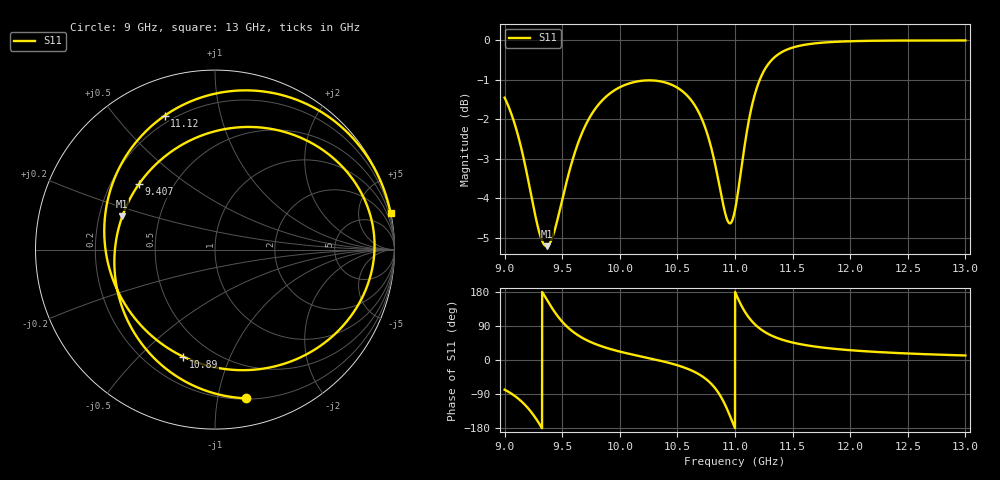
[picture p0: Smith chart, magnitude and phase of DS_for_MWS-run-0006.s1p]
! TOUCHSTONE file generated by CST DESIGN STUDIO
! Date and time: Tue Feb  4 14:07:49 2025
! Project name: C:\Work\MatlabApps\UnitCellOptimizationMatlab\CST\unitcell.cst
! Tree item: Tasks\Sweep1\SPara1\S-Parameters
! Header version: 2024
! Port assignment regex: !\s*Touchstone port\s*([0-9]+)\s*=\s*(CST MWS port|CST DES external port|CST DES block port)\s*(.+)\s* \(\"(.*)\"\)(\s*mode\s*([0-9]+))?.*
! Touchstone port assignment:
! Touchstone port 1 = CST DES external port 1 ("")
# GHz S MA R 50
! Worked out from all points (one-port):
!   4001 points, 9 GHz to 13 GHz, reference 50 ohm
!   lowest |S11| = -5.2 dB at 9.364 GHz (marker M1), VSWR 3.43, Z = 15 + j7.9 ohm
!   |S11| at or under -10 dB: nowhere
!   S11 on the Smith chart (normalised r, x): 9 GHz: 0.21, -1.21; 9.407 GHz: 0.32, +0.34; 10.89 GHz: 0.35, -0.69; 11.12 GHz: 0.17, +0.68; 13 GHz: 0.02, +9.57
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9  0.8461 -78.3
9.096  0.7766 -96.6
9.177  0.6962 -118.4
9.278  0.5896 -157.3
9.364  0.549 160.4
9.407  0.5593 139.2
9.5  0.6281 101.1
9.595  0.7099 74.3
9.725  0.7923 50.5
9.85  0.8402 35.3
10  0.8722 22.2
10.26  0.8899 4.3
10.5  0.871 -13.9
10.628  0.8367 -28.4
10.727  0.7856 -45.5
10.827  0.6972 -74.3
10.895  0.6222 -106.5
10.943  0.5886 -137.8
11  0.61 -179.9
11.053  0.6852 145.0
11.124  0.797 110.6
11.195  0.8756 87.9
11.292  0.9343 68.2
11.5  0.979 46.1
11.705  0.9915 35.0
12  0.9972 25.8
12.5  0.9993 17.2
13  0.9995 11.9
